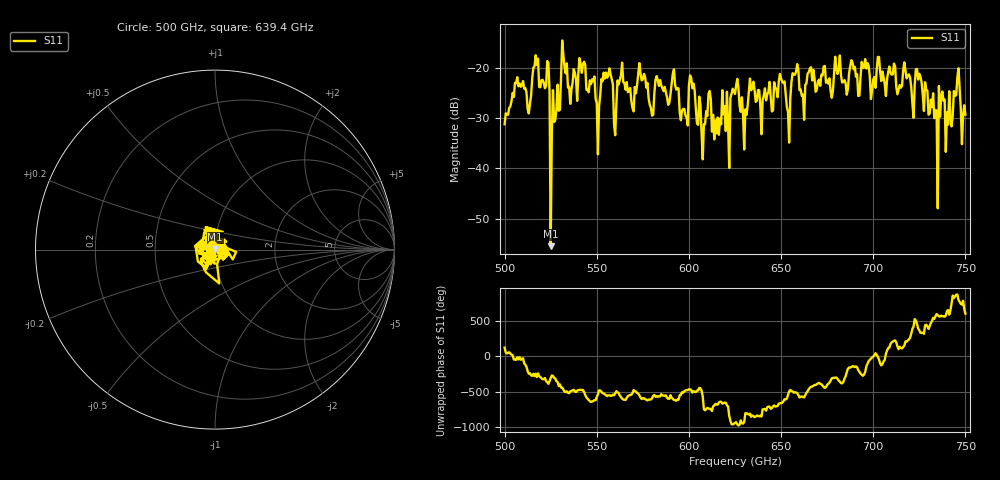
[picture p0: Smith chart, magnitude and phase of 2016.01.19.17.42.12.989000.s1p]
!Created with skrf (http://scikit-rf.org).
# GHz S RI R 50.0
!freq ReS11 ImS11
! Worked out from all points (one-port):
!   401 points, 500 GHz to 750 GHz, reference 50 ohm
!   lowest |S11| = -55.5 dB at 525 GHz (marker M1), VSWR 1.00, Z = 50.1 + j0.129 ohm
!   |S11| at or under -10 dB: start of sweep to end of sweep
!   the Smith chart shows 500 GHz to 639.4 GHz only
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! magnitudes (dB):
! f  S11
! 500 GHz  -31.2
! 506.9 GHz  -21.8
! 513.1 GHz  -29.0
! 516.9 GHz  -17.4
! 523.1 GHz  -18.5
! 525 GHz  -55.5
! 526.2 GHz  -24.4
! 531.2 GHz  -14.4
! 541.9 GHz  -20.9
! 550.6 GHz  -37.2
! 553.8 GHz  -20.9
! 560.6 GHz  -27.3
! 562.5 GHz  -22.3
! 593.8 GHz  -24.0
! 598.1 GHz  -29.4
! 601.9 GHz  -24.0
! 608.1 GHz  -31.2
! 625 GHz  -25.1
! 630.6 GHz  -28.2
! 633.8 GHz  -24.4
! 650.6 GHz  -22.7
! 653.8 GHz  -28.7
! 656.2 GHz  -21.0
! 687.5 GHz  -19.6
! 718.8 GHz  -21.5
! 733.8 GHz  -28.3
! 745.6 GHz  -21.9
! 750 GHz  -29.2
